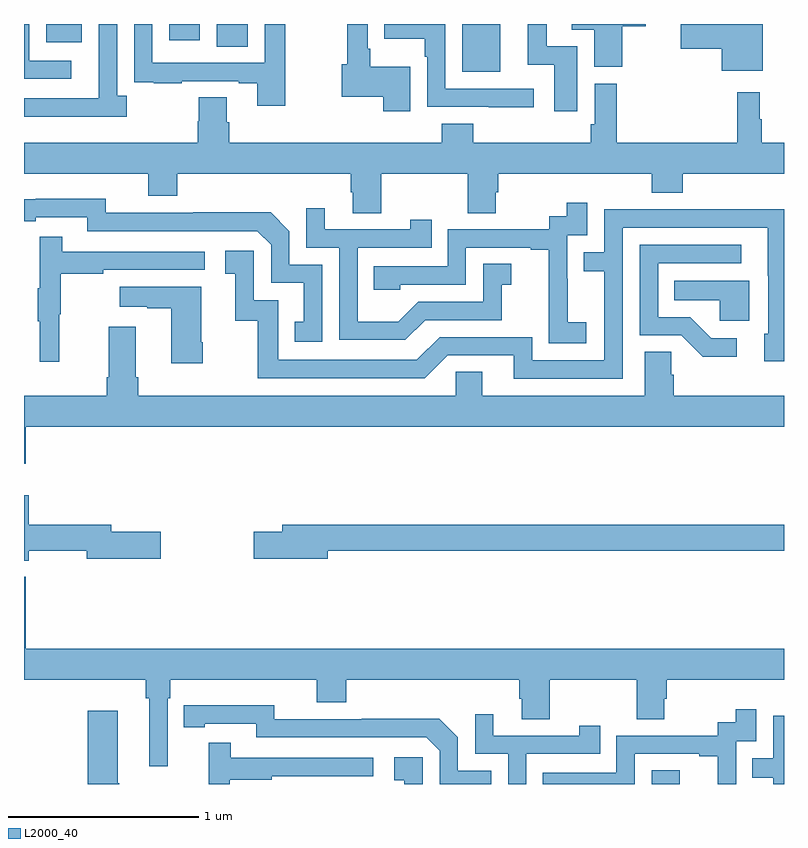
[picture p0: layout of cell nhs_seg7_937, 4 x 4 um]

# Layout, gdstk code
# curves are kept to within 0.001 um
import gdstk
lib = gdstk.Library(unit=1e-6, precision=1e-09)
def R(c, l, rs):  # rectangles x0, y0, x1, y1
    for r in rs: c.add(gdstk.rectangle(r[:2], r[2:], *l))
def P(c, l, *ps):  # polygons
    for p in ps: c.add(gdstk.Polygon(p, *l))
L2000_40 = (2000, 40)

nhs_seg7_937 = lib.new_cell('nhs_seg7_937')
R(nhs_seg7_937, L2000_40, [(182.304,1068,182.452,1068.073), (181.307,1071.749,181.507,1072), (180.014,1071.88,180.178,1072), (179.117,1071.905,179.305,1072), (179.765,1071.915,179.926,1072)])
P(nhs_seg7_937, L2000_40, [(182.148,1071.989),(182.272,1071.989),(182.272,1072),(181.883,1072),(181.883,1071.971),(182,1071.971),(182,1071.774),(182.148,1071.774)],
  [(180.376,1072),(180.267,1072),(180.267,1071.795),(179.676,1071.795),(179.676,1072),(179.58,1072),(179.58,1071.802),(179.581,1071.802),(179.581,1071.693),(179.683,1071.693),(179.683,1071.687),(179.831,1071.687),(179.831,1071.699),(180.131,1071.699),(180.131,1071.687),(180.227,1071.687),(180.227,1071.57),(180.376,1071.57)],
  [(179.248,1071.807),(179.028,1071.807),(179.028,1072),(179,1072),(179,1071.711),(179.248,1071.711)],
  [(181.684,1071.66),(181.218,1071.66),(181.218,1072),(180.895,1072),(180.895,1071.923),(181.11,1071.923),(181.11,1071.827),(181.122,1071.827),(181.122,1071.564),(181.447,1071.564),(181.447,1071.563),(181.684,1071.563)],
  [(181.033,1071.775),(180.823,1071.775),(180.823,1071.871),(180.81,1071.871),(180.81,1072),(180.702,1072),(180.702,1071.788),(180.673,1071.788),(180.673,1071.617),(180.89,1071.617),(180.89,1071.54),(181.033,1071.54)],
  [(181.912,1071.882),(181.75,1071.882),(181.75,1072),(181.652,1072),(181.652,1071.786),(181.79,1071.786),(181.79,1071.54),(181.912,1071.54)],
  [(179.542,1071.622),(179.49,1071.622),(179.49,1072),(179.394,1072),(179.394,1071.809),(179.393,1071.809),(179.393,1071.609),(179,1071.609),(179,1071.512),(179.542,1071.512)],
  [(182.887,1072),(182.456,1072),(182.456,1071.869),(182.672,1071.869),(182.672,1071.755),(182.887,1071.755)],
  [(180.879,1071.212),(181.336,1071.212),(181.336,1071.004),(181.483,1071.004),(181.483,1071.114),(181.496,1071.114),(181.496,1071.212),(182.303,1071.212),(182.303,1071.113),(182.468,1071.113),(182.468,1071.212),(183,1071.212),(183,1071.376),(182.884,1071.376),(182.884,1071.5),(182.872,1071.5),(182.872,1071.64),(182.755,1071.64),(182.755,1071.376),(182.12,1071.376),(182.12,1071.685),(182.004,1071.685),(182.004,1071.472),(181.984,1071.472),(181.984,1071.376),(181.364,1071.376),(181.364,1071.475),(181.199,1071.475),(181.199,1071.376),(180.08,1071.376),(180.08,1071.482),(180.067,1071.482),(180.067,1071.614),(179.92,1071.614),(179.92,1071.489),(179.915,1071.489),(179.915,1071.376),(179,1071.376),(179,1071.212),(179.654,1071.212),(179.654,1071.095),(179.807,1071.095),(179.807,1071.212),(180.719,1071.212),(180.719,1071.114),(180.731,1071.114),(180.731,1071.004),(180.879,1071.004)],
  [(180.57,1070.733),(180.396,1070.733),(180.396,1070.91),(180.298,1071.008),(179.89,1071.008),(179.89,1071.006),(179.43,1071.006),(179.43,1071.079),(179,1071.078),(179,1070.962),(179.062,1070.962),(179.062,1070.982),(179.334,1070.982),(179.334,1070.91),(180.228,1070.91),(180.3,1070.838),(180.3,1070.637),(180.473,1070.637),(180.473,1070.433),(180.424,1070.433),(180.424,1070.328),(180.57,1070.328)],
  [(181.96,1070.431),(181.862,1070.431),(181.862,1070.66),(181.86,1070.66),(181.86,1070.889),(181.965,1070.889),(181.965,1071.058),(181.857,1071.058),(181.857,1070.988),(181.764,1070.988),(181.764,1070.919),(181.23,1070.919),(181.23,1070.724),(180.841,1070.724),(180.841,1070.601),(180.981,1070.601),(180.981,1070.628),(181.326,1070.628),(181.326,1070.823),(181.667,1070.823),(181.667,1070.811),(181.763,1070.811),(181.763,1070.527),(181.762,1070.527),(181.762,1070.321),(181.96,1070.321)],
  [(181.111,1070.442),(181.515,1070.442),(181.515,1070.627),(181.564,1070.627),(181.564,1070.737),(181.416,1070.737),(181.416,1070.538),(181.074,1070.538),(180.97,1070.434),(180.756,1070.434),(180.756,1070.823),(181.145,1070.823),(181.145,1070.971),(181.034,1070.971),(181.034,1070.919),(180.583,1070.919),(180.583,1071.031),(180.486,1071.031),(180.486,1070.823),(180.66,1070.823),(180.66,1070.337),(181.006,1070.337)],
  [(182.151,1070.928),(182.915,1070.928),(182.916,1070.37),(182.897,1070.37),(182.897,1070.226),(183,1070.226),(183,1071.026),(182.551,1071.026),(182.551,1071.024),(182.055,1071.024),(182.055,1070.799),(181.945,1070.799),(181.945,1070.698),(182.055,1070.698),(182.055,1070.229),(181.674,1070.229),(181.674,1070.352),(181.188,1070.352),(181.068,1070.232),(180.339,1070.232),(180.339,1070.547),(180.21,1070.547),(180.21,1070.806),(180.06,1070.806),(180.06,1070.685),(180.113,1070.685),(180.113,1070.439),(180.231,1070.439),(180.231,1070.136),(181.11,1070.136),(181.23,1070.256),(181.577,1070.256),(181.577,1070.133),(182.151,1070.133)],
  [(179.186,1070.472),(179.194,1070.472),(179.194,1070.686),(179.417,1070.686),(179.417,1070.706),(179.95,1070.706),(179.95,1070.802),(179.201,1070.802),(179.201,1070.881),(179.084,1070.881),(179.084,1070.609),(179.073,1070.609),(179.073,1070.435),(179.084,1070.435),(179.084,1070.223),(179.186,1070.223)],
  [(182.752,1070.346),(182.617,1070.346),(182.506,1070.457),(182.337,1070.457),(182.337,1070.742),(182.776,1070.742),(182.776,1070.838),(182.241,1070.838),(182.241,1070.361),(182.46,1070.361),(182.573,1070.249),(182.752,1070.249)],
  [(182.818,1070.65),(182.422,1070.65),(182.422,1070.546),(182.661,1070.546),(182.661,1070.438),(182.818,1070.438)],
  [(179.94,1070.326),(179.932,1070.326),(179.932,1070.617),(179.505,1070.617),(179.505,1070.513),(179.648,1070.513),(179.648,1070.503),(179.774,1070.503),(179.774,1070.214),(179.94,1070.214)],
  [(179.009,1069.88),(183,1069.88),(183,1070.044),(182.42,1070.044),(182.42,1070.153),(182.406,1070.153),(182.406,1070.276),(182.267,1070.276),(182.267,1070.044),(181.411,1070.044),(181.411,1070.171),(181.272,1070.171),(181.272,1070.044),(179.6,1070.044),(179.6,1070.14),(179.587,1070.14),(179.587,1070.407),(179.447,1070.407),(179.447,1070.14),(179.435,1070.14),(179.435,1070.044),(179,1070.044),(179,1069.686),(179.009,1069.686)],
  [(179.026,1069.228),(179.33,1069.228),(179.33,1069.186),(179.719,1069.186),(179.719,1069.328),(179.458,1069.328),(179.458,1069.364),(179.026,1069.364),(179.026,1069.519),(179,1069.519),(179,1069.175),(179.026,1069.175)],
  [(180.598,1069.228),(183,1069.228),(183,1069.364),(180.359,1069.364),(180.359,1069.328),(180.21,1069.328),(180.21,1069.186),(180.598,1069.186)],
  [(179.757,1068.452),(179.771,1068.452),(179.771,1068.548),(180.542,1068.548),(180.542,1068.431),(180.695,1068.431),(180.695,1068.548),(181.607,1068.548),(181.607,1068.45),(181.619,1068.45),(181.619,1068.34),(181.767,1068.34),(181.767,1068.548),(182.224,1068.548),(182.224,1068.34),(182.371,1068.34),(182.371,1068.45),(182.384,1068.45),(182.384,1068.548),(183,1068.548),(183,1068.712),(179.009,1068.712),(179.009,1069.09),(179,1069.09),(179,1068.548),(179.641,1068.548),(179.641,1068.452),(179.66,1068.452),(179.66,1068.093),(179.757,1068.093)],
  [(181.458,1068.069),(181.284,1068.069),(181.284,1068.246),(181.186,1068.344),(180.778,1068.344),(180.778,1068.342),(180.318,1068.342),(180.318,1068.415),(179.842,1068.414),(179.842,1068.298),(179.95,1068.298),(179.95,1068.318),(180.222,1068.318),(180.222,1068.246),(181.116,1068.246),(181.188,1068.174),(181.188,1068),(181.458,1068)],
  [(182.214,1068.159),(182.555,1068.159),(182.555,1068.147),(182.651,1068.147),(182.651,1068),(182.748,1068),(182.748,1068.225),(182.853,1068.225),(182.853,1068.394),(182.745,1068.394),(182.745,1068.324),(182.652,1068.324),(182.652,1068.255),(182.118,1068.255),(182.118,1068.06),(181.729,1068.06),(181.729,1068),(182.214,1068)],
  [(179.502,1068.005),(179.494,1068.005),(179.494,1068.385),(179.336,1068.385),(179.336,1068),(179.502,1068)],
  [(181.644,1068.159),(182.033,1068.159),(182.033,1068.307),(181.922,1068.307),(181.922,1068.255),(181.471,1068.255),(181.471,1068.367),(181.374,1068.367),(181.374,1068.159),(181.548,1068.159),(181.548,1068),(181.644,1068)],
  [(183,1068.36),(182.943,1068.36),(182.943,1068.135),(182.833,1068.135),(182.833,1068.034),(182.943,1068.034),(182.943,1068),(183,1068)],
  [(180.082,1068.022),(180.305,1068.022),(180.305,1068.042),(180.838,1068.042),(180.838,1068.138),(180.089,1068.138),(180.089,1068.217),(179.972,1068.217),(179.972,1068),(180.082,1068)],
  [(181.098,1068.142),(180.948,1068.142),(180.948,1068.021),(181.001,1068.021),(181.001,1068),(181.098,1068)])

lib.write_gds('nhs_seg7_937.gds')
